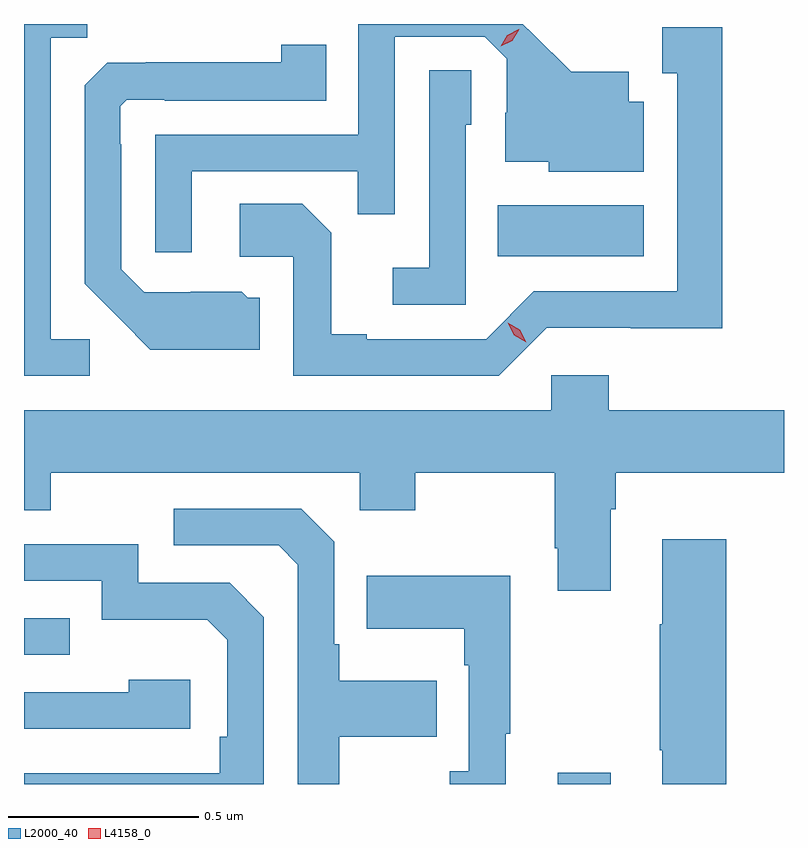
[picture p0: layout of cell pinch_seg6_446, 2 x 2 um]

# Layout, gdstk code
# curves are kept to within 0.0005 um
import gdstk
lib = gdstk.Library(unit=1e-6, precision=1e-09)
def R(c, l, rs):  # rectangles x0, y0, x1, y1
    for r in rs: c.add(gdstk.rectangle(r[:2], r[2:], *l))
def P(c, l, *ps):  # polygons
    for p in ps: c.add(gdstk.Polygon(p, *l))
L2000_40 = (2000, 40)
L4158_0 = (4158, 0)

pinch_seg6_446 = lib.new_cell('pinch_seg6_446')
R(pinch_seg6_446, L2000_40, [(738.479,919.877,738.619,919.906), (737.075,920.217,737.195,920.313), (738.322,921.266,738.706,921.4)])
P(pinch_seg6_446, L2000_40, [(737.517,921.489),(737.953,921.489),(737.953,921.376),(738.051,921.376),(738.051,921.843),(738.288,921.843),(738.345,921.786),(738.345,921.644),(738.341,921.644),(738.341,921.515),(738.456,921.515),(738.456,921.488),(738.706,921.488),(738.706,921.673),(738.667,921.673),(738.667,921.751),(738.515,921.751),(738.388,921.877),(737.955,921.877),(737.955,921.585),(737.421,921.585),(737.421,921.276),(737.517,921.276)],
  [(737.248,921.048),(737.145,921.048),(737.145,921.841),(737.241,921.841),(737.241,921.877),(737.075,921.877),(737.075,920.952),(737.248,920.952)],
  [(738.45,921.078),(738.672,921.078),(738.672,921.077),(738.913,921.077),(738.913,921.868),(738.755,921.868),(738.755,921.747),(738.794,921.747),(738.794,921.174),(738.417,921.174),(738.291,921.048),(737.977,921.048),(737.977,921.061),(737.883,921.061),(737.883,921.328),(737.807,921.404),(737.643,921.404),(737.643,921.264),(737.784,921.264),(737.784,920.952),(738.324,920.952)],
  [(737.695,921.156),(737.664,921.156),(737.648,921.172),(737.514,921.172),(737.514,921.171),(737.391,921.171),(737.331,921.231),(737.331,921.56),(737.328,921.56),(737.328,921.66),(737.346,921.678),(737.446,921.678),(737.446,921.675),(737.87,921.675),(737.87,921.823),(737.752,921.823),(737.752,921.776),(737.395,921.776),(737.395,921.775),(737.294,921.775),(737.235,921.716),(737.235,921.194),(737.407,921.02),(737.695,921.02)],
  [(738.237,921.612),(738.252,921.612),(738.252,921.755),(738.141,921.755),(738.141,921.235),(738.045,921.235),(738.045,921.138),(738.237,921.138)],
  [(738.619,920.6),(738.632,920.6),(738.632,920.696),(739.075,920.696),(739.075,920.86),(738.614,920.86),(738.614,920.953),(738.462,920.953),(738.462,920.86),(737.075,920.86),(737.075,920.597),(737.145,920.597),(737.145,920.696),(737.958,920.696),(737.958,920.597),(738.105,920.597),(738.105,920.696),(738.472,920.696),(738.472,920.497),(738.479,920.497),(738.479,920.385),(738.619,920.385)],
  [(737.905,920.002),(738.161,920.002),(738.161,920.149),(737.905,920.149),(737.905,920.245),(737.892,920.245),(737.892,920.514),(737.805,920.601),(737.469,920.601),(737.469,920.505),(737.745,920.505),(737.796,920.454),(737.796,919.877),(737.905,919.877)],
  [(738.923,920.521),(738.755,920.521),(738.755,920.297),(738.748,920.297),(738.748,919.966),(738.755,919.966),(738.755,919.877),(738.923,919.877)],
  [(737.706,920.316),(737.616,920.406),(737.376,920.406),(737.376,920.508),(737.075,920.508),(737.075,920.412),(737.28,920.412),(737.28,920.309),(737.557,920.309),(737.61,920.256),(737.61,920.002),(737.59,920.002),(737.59,919.905),(737.075,919.905),(737.075,919.877),(737.706,919.877)],
  [(738.343,920.009),(738.355,920.009),(738.355,920.425),(737.977,920.425),(737.977,920.285),(738.234,920.285),(738.234,920.189),(738.246,920.189),(738.246,919.91),(738.195,919.91),(738.195,919.877),(738.343,919.877)],
  [(737.512,920.152),(737.351,920.152),(737.351,920.118),(737.075,920.118),(737.075,920.022),(737.512,920.022)])
P(pinch_seg6_446, L4158_0, [(738.397,921.039),(738.365,921.058),(738.348,921.091),(738.348,921.091),(738.348,921.091),(738.379,921.072),(738.397,921.04),(738.397,921.039)],
  [(738.33,921.818),(738.33,921.819),(738.347,921.848),(738.377,921.863),(738.378,921.863),(738.378,921.863),(738.36,921.833),(738.33,921.818)])

lib.write_gds('pinch_seg6_446.gds')
